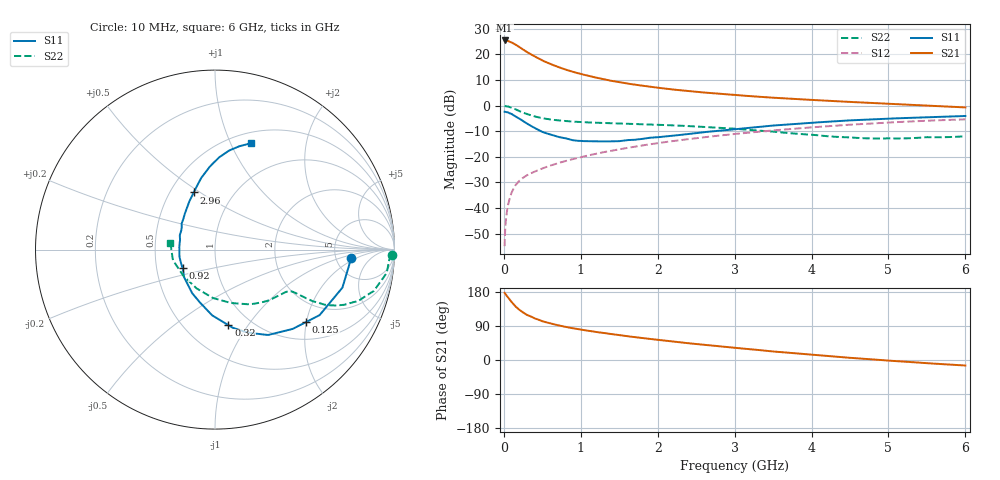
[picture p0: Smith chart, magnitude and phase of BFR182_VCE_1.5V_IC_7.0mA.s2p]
! Infineon Technologies  Discrete & RF Semiconductors
! BFR182
! VCE =  1.5 V,  IC =  7.0 mA
! Common Emitter S-Parameters:  Nov 2015
# GHz  S  MA  R  50
!  f  S11  S21  S12  S22
! GHz  MAG  ANG  MAG  ANG  MAG  ANG  MAG  ANG
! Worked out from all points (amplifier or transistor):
!   210 points, 10 MHz to 6 GHz, reference 50 ohm
!   highest |S21| = 25.4 dB at 10 MHz (marker M1)
!   |S21| within 3 dB of that: start of sweep to 224.1 MHz
!   unconditionally stable (mu >= 1): 867 MHz to 2.75 GHz
!   at 185 MHz: K = 0.41, MSG = 26.5 dB, |S12| = -29.9 dB
!   at 1.52 GHz: K = 1.06, MAG = 11.5 dB, |S12| = -17.0 dB
!   at 6 GHz: K = 0.90, MSG = 2.3 dB, |S12| = -5.4 dB
!   S11 on the Smith chart (normalised r, x): 10 MHz: 6.97, -1.48; 125 MHz: 1.43, -1.99; 320 MHz: 0.79, -0.82; 920 MHz: 0.68, -0.15; 2.96 GHz: 0.65, +0.47; 6 GHz: 0.61, +1.20
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0.01  0.7586 -3.4  18.66 177.3  0.0018 88.9  0.9855 -1.6
0.02  0.7522 -6.7  18.49 174.2  0.0044 86.2  0.973 -3.2
0.05  0.7409 -16.6  18.39 166.0  0.0106 83.3  0.9653 -7.8
0.1  0.6879 -32.0  17.17 153.4  0.0198 75.3  0.9142 -14.6
0.125  0.6486 -38.4  16.28 147.7  0.0237 72.3  0.8808 -17.0
0.15  0.6185 -45.6  15.57 141.5  0.0277 70.1  0.8491 -19.6
0.2  0.5604 -58.1  14.01 132.6  0.0338 66.8  0.7837 -23.1
0.26  0.488 -69.8  12.14 124.1  0.0398 63.6  0.7188 -25.6
0.3  0.4461 -77.3  11.1 119.1  0.0435 62.9  0.6831 -26.7
0.32  0.428 -79.9  10.69 117.5  0.0451 62.6  0.669 -26.9
0.4  0.3665 -92.5  9.123 109.9  0.0514 61.7  0.6129 -27.9
0.5  0.3063 -105.9  7.574 102.3  0.0591 62.6  0.5653 -28.1
0.7  0.246 -128.4  5.703 91.8  0.0746 63.0  0.5144 -28.3
0.92  0.2082 -149.9  4.453 83.0  0.092 64.0  0.4841 -28.7
1.02  0.2029 -160.3  4.066 79.6  0.0999 64.4  0.4747 -29.2
1.4  0.2006 169.6  3.038 68.4  0.1314 64.2  0.452 -32.6
2.02  0.2426 137.4  2.211 52.9  0.1865 61.5  0.4209 -40.6
2.96  0.34 110.5  1.626 32.9  0.2747 54.0  0.3565 -58.5
3.1  0.3564 107.7  1.567 30.3  0.288 52.5  0.3433 -61.9
4.1  0.472 92.4  1.266 12.4  0.3846 41.6  0.2606 -96.5
5.1  0.5632 80.9  1.069 -2.9  0.4747 29.2  0.2278 -145.6
6  0.6259 71.3  0.92 -14.6  0.5379 16.5  0.2518 171.2
